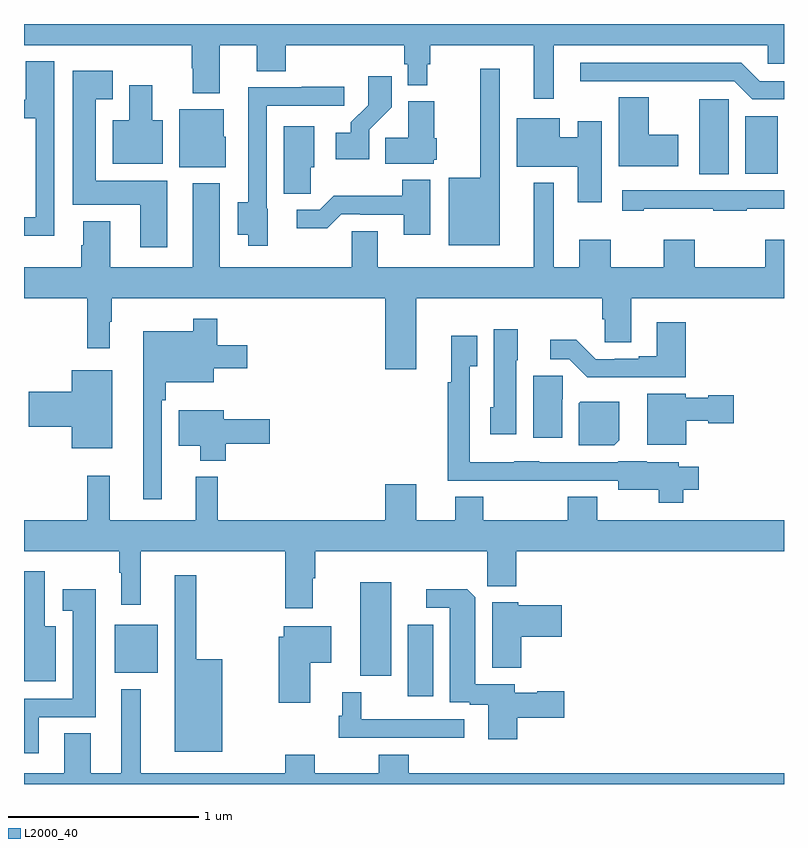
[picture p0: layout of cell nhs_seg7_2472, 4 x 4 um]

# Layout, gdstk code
import gdstk
lib = gdstk.Library(unit=1e-6, precision=1e-09)
def R(c, l, rs):  # rectangles x0, y0, x1, y1
    for r in rs: c.add(gdstk.rectangle(r[:2], r[2:], *l))
def P(c, l, *ps):  # polygons
    for p in ps: c.add(gdstk.Polygon(p, *l))
L2000_40 = (2000, 40)

nhs_seg7_2472 = lib.new_cell('nhs_seg7_2472')
R(nhs_seg7_2472, L2000_40, [(273.02,1058.463,273.154,1058.839), (272.771,1058.571,272.932,1059.061), (271.478,1058.585,271.705,1058.839), (274.553,1061.209,274.708,1061.605), (274.796,1061.213,274.966,1061.515)])
P(nhs_seg7_2472, L2000_40, [(271,1061.888),(271.882,1061.888),(271.882,1061.768),(271.889,1061.768),(271.889,1061.636),(272.029,1061.636),(272.029,1061.888),(272.225,1061.888),(272.225,1061.752),(272.378,1061.752),(272.378,1061.888),(273.001,1061.888),(273.001,1061.787),(273.021,1061.787),(273.021,1061.678),(273.122,1061.678),(273.122,1061.787),(273.137,1061.787),(273.137,1061.888),(273.683,1061.888),(273.683,1061.607),(273.787,1061.607),(273.787,1061.888),(274.914,1061.888),(274.914,1061.79),(275,1061.79),(275,1062),(271,1062)],
  [(271.158,1061.803),(271.01,1061.803),(271.01,1061.601),(271,1061.601),(271,1061.505),(271.062,1061.505),(271.062,1060.983),(271,1060.983),(271,1060.886),(271.158,1060.886)],
  [(275,1061.7),(274.872,1061.7),(274.776,1061.796),(273.927,1061.796),(273.927,1061.7),(274.737,1061.7),(274.833,1061.604),(275,1061.604)],
  [(273.505,1061.764),(273.401,1061.764),(273.401,1061.191),(273.236,1061.191),(273.236,1060.835),(273.505,1060.835)],
  [(271.753,1061.176),(271.378,1061.176),(271.378,1061.603),(271.468,1061.603),(271.468,1061.755),(271.256,1061.755),(271.256,1061.048),(271.613,1061.048),(271.613,1060.824),(271.753,1060.824)],
  [(272.817,1061.443),(272.936,1061.562),(272.936,1061.725),(272.811,1061.725),(272.811,1061.573),(272.72,1061.483),(272.72,1061.428),(272.64,1061.428),(272.64,1061.288),(272.817,1061.288)],
  [(271.729,1061.494),(271.675,1061.494),(271.675,1061.677),(271.553,1061.677),(271.553,1061.494),(271.466,1061.494),(271.466,1061.264),(271.729,1061.264)],
  [(272.284,1061.028),(272.277,1061.028),(272.277,1061.571),(272.686,1061.571),(272.686,1061.67),(272.461,1061.67),(272.461,1061.667),(272.181,1061.667),(272.181,1061.063),(272.126,1061.063),(272.126,1060.892),(272.18,1060.892),(272.18,1060.832),(272.284,1060.832)],
  [(274.444,1061.416),(274.288,1061.416),(274.288,1061.615),(274.13,1061.615),(274.13,1061.252),(274.444,1061.252)],
  [(273.156,1061.286),(273.172,1061.286),(273.172,1061.4),(273.16,1061.4),(273.16,1061.593),(273.023,1061.593),(273.023,1061.402),(272.902,1061.402),(272.902,1061.264),(273.156,1061.264)],
  [(272.062,1061.406),(272.05,1061.406),(272.05,1061.551),(271.817,1061.551),(271.817,1061.246),(272.062,1061.246)],
  [(274.042,1061.488),(273.914,1061.488),(273.914,1061.403),(273.82,1061.403),(273.82,1061.503),(273.593,1061.503),(273.593,1061.249),(273.914,1061.249),(273.914,1061.061),(274.042,1061.061)],
  [(272.508,1061.247),(272.527,1061.247),(272.527,1061.461),(272.366,1061.461),(272.366,1061.107),(272.508,1061.107)],
  [(273.139,1061.179),(272.992,1061.179),(272.992,1061.095),(272.629,1061.095),(272.556,1061.022),(272.436,1061.022),(272.436,1060.925),(272.597,1060.925),(272.67,1060.998),(272.77,1060.998),(272.77,1060.995),(272.999,1060.995),(272.999,1060.89),(273.139,1060.89)],
  [(273.064,1060.556),(274.043,1060.556),(274.043,1060.446),(274.056,1060.446),(274.056,1060.324),(274.195,1060.324),(274.195,1060.556),(275,1060.556),(275,1060.864),(274.901,1060.864),(274.901,1060.72),(274.531,1060.72),(274.531,1060.864),(274.367,1060.864),(274.367,1060.72),(274.087,1060.72),(274.087,1060.864),(273.923,1060.864),(273.923,1060.72),(273.787,1060.72),(273.787,1061.164),(273.683,1061.164),(273.683,1060.72),(272.863,1060.72),(272.863,1060.91),(272.724,1060.91),(272.724,1060.72),(272.029,1060.72),(272.029,1061.161),(271.889,1061.161),(271.889,1060.72),(271.453,1060.72),(271.453,1060.963),(271.313,1060.963),(271.313,1060.836),(271.301,1060.836),(271.301,1060.72),(271,1060.72),(271,1060.556),(271.333,1060.556),(271.333,1060.293),(271.45,1060.293),(271.45,1060.433),(271.462,1060.433),(271.462,1060.556),(272.9,1060.556),(272.9,1060.182),(273.064,1060.182)],
  [(274.261,1061.027),(274.627,1061.027),(274.627,1061.016),(274.805,1061.016),(274.805,1061.027),(275,1061.027),(275,1061.124),(274.149,1061.124),(274.149,1061.016),(274.261,1061.016)],
  [(271.725,1060.019),(271.745,1060.019),(271.745,1060.115),(271.999,1060.115),(271.999,1060.187),(272.176,1060.187),(272.176,1060.309),(272.018,1060.309),(272.018,1060.45),(271.89,1060.45),(271.89,1060.384),(271.628,1060.384),(271.628,1059.498),(271.725,1059.498)],
  [(274.484,1060.429),(274.331,1060.429),(274.331,1060.252),(274.235,1060.252),(274.235,1060.239),(274.108,1060.239),(274.108,1060.236),(274.008,1060.236),(273.906,1060.339),(273.771,1060.339),(273.771,1060.236),(273.87,1060.236),(273.965,1060.142),(274.484,1060.142)],
  [(273.592,1060.23),(273.598,1060.23),(273.598,1060.393),(273.473,1060.393),(273.473,1059.984),(273.455,1059.984),(273.455,1059.84),(273.592,1059.84)],
  [(274.469,1059.548),(274.552,1059.548),(274.552,1059.67),(274.446,1059.67),(274.446,1059.694),(274.278,1059.694),(274.278,1059.7),(274.128,1059.7),(274.128,1059.693),(273.711,1059.693),(273.711,1059.7),(273.579,1059.7),(273.579,1059.694),(273.345,1059.694),(273.345,1060.199),(273.385,1060.199),(273.385,1060.36),(273.248,1060.36),(273.248,1060.115),(273.229,1060.115),(273.229,1059.597),(273.479,1059.597),(273.479,1059.596),(273.711,1059.596),(273.711,1059.597),(274.128,1059.597),(274.128,1059.548),(274.341,1059.548),(274.341,1059.479),(274.469,1059.479)],
  [(271.465,1060.177),(271.25,1060.177),(271.25,1060.064),(271.026,1060.064),(271.026,1059.881),(271.25,1059.881),(271.25,1059.767),(271.465,1059.767)],
  [(273.832,1060.026),(273.836,1060.026),(273.836,1060.149),(273.68,1060.149),(273.68,1059.822),(273.832,1059.822)],
  [(274.486,1059.911),(274.602,1059.911),(274.602,1059.899),(274.735,1059.899),(274.735,1060.046),(274.602,1060.046),(274.602,1060.033),(274.482,1060.033),(274.482,1060.054),(274.28,1060.054),(274.28,1059.785),(274.486,1059.785)],
  [(274.132,1059.808),(274.132,1060.012),(273.928,1060.012),(273.92,1060.004),(273.92,1059.782),(274.106,1059.782)],
  [(272.063,1059.79),(272.293,1059.79),(272.293,1059.919),(272.05,1059.919),(272.05,1059.967),(271.814,1059.967),(271.814,1059.779),(271.928,1059.779),(271.928,1059.701),(272.063,1059.701)],
  [(273.439,1059.042),(273.59,1059.042),(273.59,1059.224),(275,1059.224),(275,1059.388),(274.017,1059.388),(274.017,1059.512),(273.862,1059.512),(273.862,1059.388),(273.417,1059.388),(273.417,1059.512),(273.269,1059.512),(273.269,1059.388),(273.064,1059.388),(273.064,1059.577),(272.9,1059.577),(272.9,1059.388),(272.021,1059.388),(272.021,1059.616),(271.904,1059.616),(271.904,1059.388),(271.451,1059.388),(271.451,1059.622),(271.333,1059.622),(271.333,1059.388),(271,1059.388),(271,1059.224),(271.501,1059.224),(271.501,1059.112),(271.511,1059.112),(271.511,1058.943),(271.615,1058.943),(271.615,1059.224),(272.374,1059.224),(272.374,1058.925),(272.521,1058.925),(272.521,1059.083),(272.534,1059.083),(272.534,1059.224),(273.439,1059.224)],
  [(271.168,1058.83),(271.108,1058.83),(271.108,1059.121),(271,1059.121),(271,1058.54),(271.168,1058.54)],
  [(272.044,1058.656),(271.907,1058.656),(271.907,1059.1),(271.793,1059.1),(271.793,1058.171),(272.044,1058.171)],
  [(273.596,1058.35),(273.844,1058.35),(273.844,1058.487),(273.7,1058.487),(273.7,1058.479),(273.583,1058.479),(273.583,1058.526),(273.376,1058.526),(273.376,1058.984),(273.334,1059.026),(273.117,1059.026),(273.117,1058.928),(273.242,1058.928),(273.242,1058.43),(273.347,1058.43),(273.347,1058.418),(273.443,1058.418),(273.443,1058.235),(273.596,1058.235)],
  [(271.078,1058.352),(271.378,1058.352),(271.378,1059.025),(271.203,1059.025),(271.203,1058.912),(271.256,1058.912),(271.256,1058.448),(271,1058.448),(271,1058.163),(271.078,1058.163)],
  [(273.617,1058.776),(273.829,1058.776),(273.829,1058.941),(273.6,1058.941),(273.6,1058.956),(273.464,1058.956),(273.464,1058.611),(273.617,1058.611)],
  [(272.506,1058.639),(272.617,1058.639),(272.617,1058.83),(272.366,1058.83),(272.366,1058.775),(272.341,1058.775),(272.341,1058.427),(272.506,1058.427)],
  [(275,1058.056),(273.026,1058.056),(273.026,1058.155),(272.866,1058.155),(272.866,1058.056),(272.529,1058.056),(272.529,1058.155),(272.374,1058.155),(272.374,1058.056),(271.615,1058.056),(271.615,1058.5),(271.511,1058.5),(271.511,1058.056),(271.351,1058.056),(271.351,1058.267),(271.211,1058.267),(271.211,1058.056),(271,1058.056),(271,1058),(275,1058)],
  [(273.316,1058.34),(272.775,1058.34),(272.775,1058.482),(272.675,1058.482),(272.675,1058.358),(272.656,1058.358),(272.656,1058.244),(273.316,1058.244)])

lib.write_gds('nhs_seg7_2472.gds')
